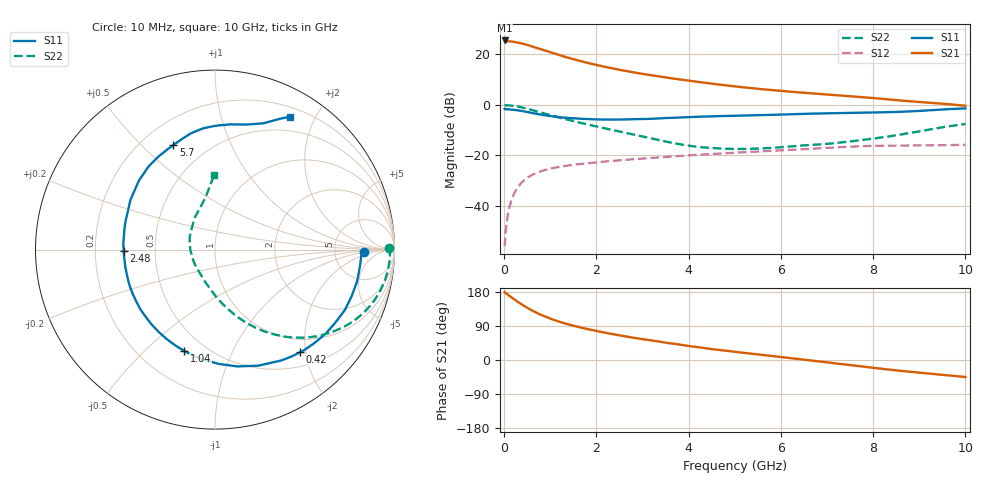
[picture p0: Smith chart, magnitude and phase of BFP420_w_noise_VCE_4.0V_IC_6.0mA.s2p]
! Infineon Technologies  Discrete & RF Semiconductors
! BFP420
! VCE =  4.0 V,  IC =  6.0 mA
! Common Emitter S-Parameters:  Jan 2016
# GHz  S  MA  R  50
!  f  S11  S21  S12  S22
! GHz  MAG  ANG  MAG  ANG  MAG  ANG  MAG  ANG
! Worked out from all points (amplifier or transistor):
!   233 points, 10 MHz to 10 GHz, reference 50 ohm
!   highest |S21| = 25.4 dB at 10 MHz (marker M1)
!   |S21| within 3 dB of that: start of sweep to 717.7 MHz
!   unconditionally stable (mu >= 1): 2.838 GHz to end of sweep
!   at 200 MHz: K = 0.15, MSG = 30.3 dB, |S12| = -35.8 dB
!   at 1.74 GHz: K = 0.66, MSG = 20.1 dB, |S12| = -23.2 dB
!   at 10 GHz: K = 1.11, MAG = 5.7 dB, |S12| = -15.8 dB
!   lowest NFmin = 0.70 dB at 900 MHz
!   S11 on the Smith chart (normalised r, x): 10 MHz: 11, -1; 420 MHz: 0.74, -1.89; 1.04 GHz: 0.39, -0.67; 2.48 GHz: 0.33, -0.00; 5.7 GHz: 0.33, +0.63; 10 GHz: 0.32, +1.66
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0.01  0.8287 -0.8  18.65 178.7  0.0016 33.0  0.9714 0.6
0.02  0.8151 -2.6  18.11 177.9  0.0021 59.5  0.9753 -1.3
0.105  0.8102 -13.2  18.03 170.2  0.0087 76.1  0.9698 -7.2
0.2  0.798 -24.9  17.61 161.8  0.0163 73.9  0.9504 -13.6
0.24  0.7868 -29.8  17.31 158.2  0.0193 72.2  0.9387 -16.2
0.3  0.7745 -36.9  16.95 153.1  0.0236 69.5  0.9187 -20.0
0.42  0.7421 -50.5  15.94 143.7  0.0314 63.8  0.8702 -27.0
0.58  0.6942 -67.4  14.46 132.3  0.0399 57.1  0.7979 -35.1
0.7  0.6629 -79.1  13.37 124.7  0.0451 52.9  0.7442 -40.5
0.9  0.6167 -96.2  11.65 113.9  0.0518 47.3  0.6608 -47.9
1.04  0.5891 -106.9  10.6 107.5  0.0556 44.2  0.609 -52.3
1.32  0.5533 -125.7  8.85 96.5  0.0617 39.6  0.5208 -59.9
1.68  0.5265 -145.5  7.201 85.1  0.0679 35.6  0.4329 -67.8
2.02  0.5127 -160.9  6.059 76.1  0.073 32.9  0.3689 -74.2
2.48  0.5088 -179.4  4.955 65.5  0.0794 29.8  0.2976 -83.1
3.4  0.5388 152.4  3.573 47.8  0.0916 24.8  0.1956 -104.1
4.2  0.5785 134.1  2.831 33.9  0.1023 20.4  0.147 -131.0
5.1  0.6086 120.0  2.252 20.2  0.1138 15.2  0.1335 -163.6
5.7  0.6272 111.7  1.987 12.0  0.121 11.8  0.1386 176.2
6.8  0.6708 98.1  1.645 -3.3  0.1371 4.9  0.1633 146.4
8.4  0.7156 76.8  1.257 -26.1  0.1552 -9.8  0.2407 111.4
10  0.8482 60.7  0.955 -44.9  0.1613 -20.1  0.4163 90.7
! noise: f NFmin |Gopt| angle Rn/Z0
0.9  0.7  0.16  29  0.14
1.8  1.08  0.06  113  0.12
2.4  1.17  0.11  132  0.13
3  1.26  0.17  176  0.11
4  1.43  0.31  -139  0.13
5  1.82  0.38  -115  0.24
6  2.3  0.43  -99  0.37
